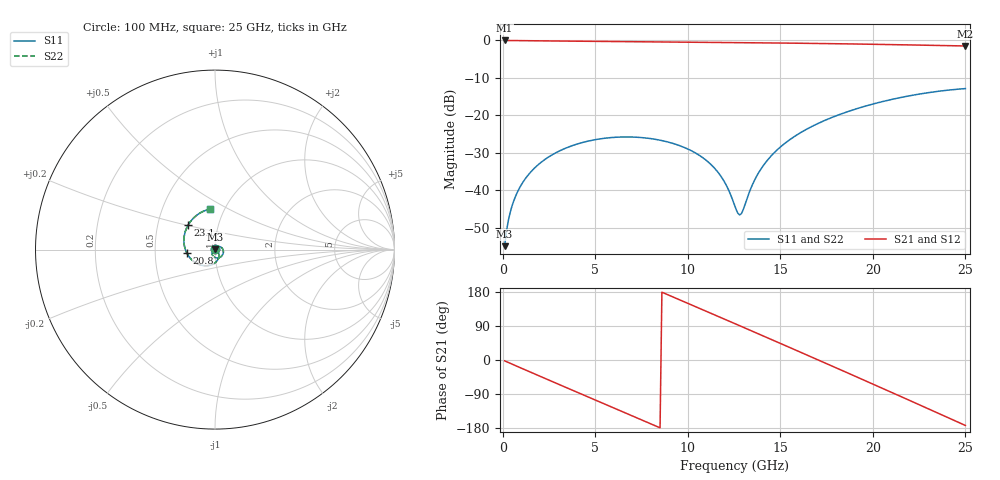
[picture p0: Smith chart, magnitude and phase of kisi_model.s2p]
! kisi C_s8_mixed: fast channel model (formula impedances, via model), up to 25 GHz
# Hz S RI R 50
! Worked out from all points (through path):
!   250 points, 100 MHz to 25 GHz, reference 50 ohm
!   highest |S21| = -0.02 dB at 100 MHz (marker M1); lowest = -1.5 dB at 25 GHz (marker M2)
!   group delay of S21, straight-line fit = 59 ps
!   lowest |S11| = -54.9 dB at 100 MHz (marker M3), VSWR 1.00, Z = 50.1 + j0.126 ohm
!   |S11| at or under -10 dB: start of sweep to end of sweep
!   |S22| runs from -54.9 to -12.8 dB; largest |S21 - S12| = 0
!   S11 on the Smith chart (normalised r, x): 100 MHz: 1.00, +0.00; 20.8 GHz: 0.73, -0.03; 23.1 GHz: 0.71, +0.20; 25 GHz: 0.85, +0.41
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1e8  0.0013 0.00125  0.9973 -0.0385  0.9973 -0.0385  0.0013 0.00125
3e8  0.00177 0.00353  0.9902 -0.1135  0.9902 -0.1135  0.00177 0.00353
5e8  0.00246 0.00568  0.9776 -0.187  0.9776 -0.187  0.00246 0.00568
1.3e9  0.00782 0.0131  0.8757 -0.4626  0.8757 -0.4626  0.00782 0.0131
2.9e9  0.0275 0.0164  0.4667 -0.8632  0.4667 -0.8632  0.0275 0.0164
4.3e9  0.0434 0.00265  -0.017 -0.9735  -0.017 -0.9735  0.0434 0.00265
5.4e9  0.0466 -0.0156  -0.3945 -0.8839  -0.3945 -0.8839  0.0466 -0.0156
6.6e9  0.0379 -0.035  -0.7279 -0.6288  -0.7279 -0.6288  0.0379 -0.035
8.4e9  0.00874 -0.0464  -0.9519 -0.052  -0.9519 -0.052  0.00874 -0.0464
9.7e9  -0.0101 -0.037  -0.8647 0.3875  -0.8647 0.3875  -0.0101 -0.037
1.11e10  -0.0157 -0.0181  -0.5589 0.7575  -0.5589 0.7575  -0.0157 -0.0181
1.19e10  -0.0107 -0.00905  -0.3139 0.8837  -0.3139 0.8837  -0.0107 -0.00905
1.26e10  -0.00268 -0.00498  -0.0777 0.9314  -0.0777 0.9314  -0.00268 -0.00498
1.29e10  0.00135 -0.00473  0.0257 0.9328  0.0257 0.9328  0.00135 -0.00473
1.36e10  0.0109 -0.00807  0.2626 0.8919  0.2626 0.8919  0.0109 -0.00807
1.44e10  0.0195 -0.0186  0.5095 0.7728  0.5095 0.7728  0.0195 -0.0186
1.67e10  0.00322 -0.0711  0.9044 0.1195  0.9044 0.1195  0.00322 -0.0711
1.85e10  -0.0627 -0.0894  0.77 -0.4653  0.77 -0.4653  -0.0627 -0.0894
2.08e10  -0.1578 -0.0176  0.1396 -0.8698  0.1396 -0.8698  -0.1578 -0.0176
2.09e10  -0.1604 -0.0119  0.1064 -0.8736  0.1064 -0.8736  -0.1604 -0.0119
2.31e10  -0.1501 0.1362  -0.5643 -0.6489  -0.5643 -0.6489  -0.1501 0.1362
2.5e10  -0.0301 0.2258  -0.8358 -0.1061  -0.8358 -0.1061  -0.0301 0.2258
